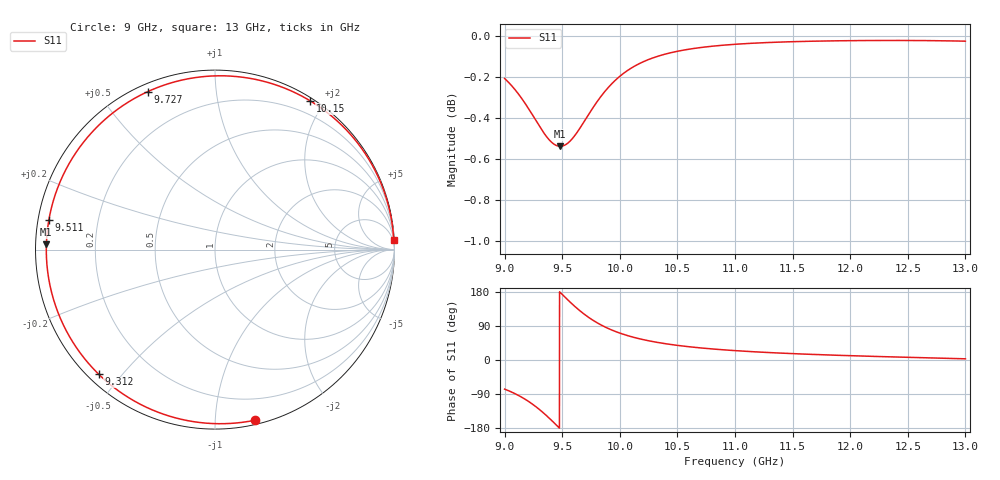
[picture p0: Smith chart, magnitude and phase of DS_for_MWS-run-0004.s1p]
! TOUCHSTONE file generated by CST DESIGN STUDIO
! Date and time: Tue Feb  4 13:10:25 2025
! Project name: C:\Work\MatlabApps\UnitCellOptimizationMatlab\CST\unitcell.cst
! Tree item: Tasks\Sweep1\SPara1\S-Parameters
! Header version: 2024
! Port assignment regex: !\s*Touchstone port\s*([0-9]+)\s*=\s*(CST MWS port|CST DES external port|CST DES block port)\s*(.+)\s* \(\"(.*)\"\)(\s*mode\s*([0-9]+))?.*
! Touchstone port assignment:
! Touchstone port 1 = CST DES external port 1 ("")
# GHz S MA R 50
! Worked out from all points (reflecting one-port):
!   4001 points, 9 GHz to 13 GHz, reference 50 ohm
!   lowest |S11| = -0.5 dB at 9.483 GHz (marker M1), VSWR 32.32, Z = 1.55 + j0.8 ohm
!   phase of S11 starts at -77 deg and turns -280 deg over the sweep
!   S11 on the Smith chart (normalised r, x): 9 GHz: 0.03, -1.26; 9.312 GHz: 0.03, -0.43; 9.511 GHz: 0.03, +0.09; 9.727 GHz: 0.03, +0.66; 10.15 GHz: 0.04, +1.83; 13 GHz: 2, +37
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9  0.9764 -76.8
9.079  0.9711 -87.2
9.178  0.9628 -103.5
9.247  0.9561 -117.6
9.312  0.9497 -133.1
9.357  0.9456 -145.0
9.405  0.9423 -158.6
9.445  0.9405 -170.4
9.483  0.94 178.2
9.5  0.9401 173.0
9.511  0.9403 169.7
9.563  0.9424 154.4
9.623  0.9468 137.8
9.674  0.9515 125.0
9.727  0.9567 113.0
9.781  0.9618 102.2
9.842  0.9671 91.7
9.92  0.9728 80.4
10  0.9775 71.0
10.152  0.9839 57.4
10.31  0.9882 47.3
10.5  0.9913 38.6
10.722  0.9936 31.3
11  0.9952 24.7
11.5  0.9967 16.8
12  0.9972 11.4
12.5  0.9973 7.1
13  0.9969 3.1
